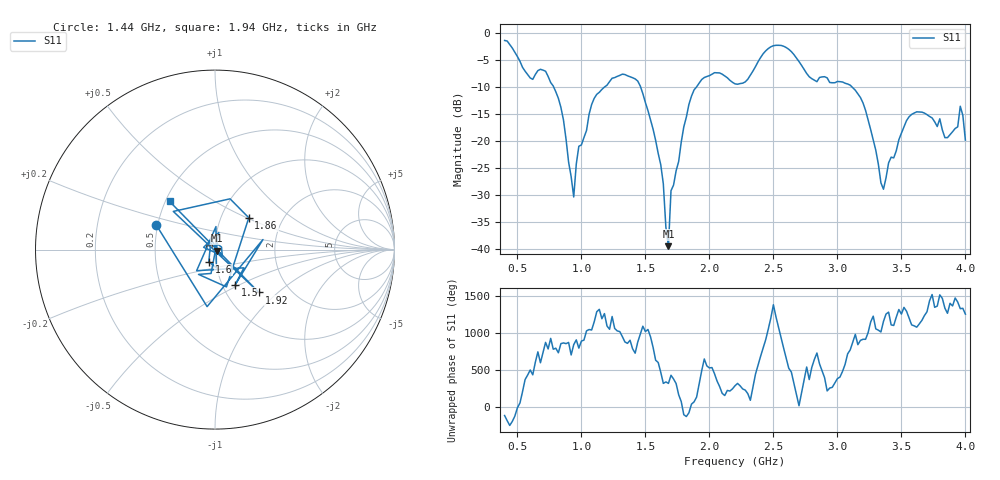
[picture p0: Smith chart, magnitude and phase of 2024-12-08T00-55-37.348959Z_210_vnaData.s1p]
!Created with skrf (http://scikit-rf.org).
# Hz S RI R 50.0
!freq ReS11 ImS11
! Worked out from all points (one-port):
!   181 points, 400 MHz to 4 GHz, reference 50 ohm
!   lowest |S11| = -39.5 dB at 1.68 GHz (marker M1), VSWR 1.02, Z = 50.8 - j0.661 ohm
!   |S11| at or under -10 dB: 782.4 MHz to 1.184 GHz (401.6 MHz wide, 40.8 % of centre); 1.462 GHz to 1.901 GHz (439.3 MHz wide, 26.1 % of centre); 3.113 GHz to end of sweep
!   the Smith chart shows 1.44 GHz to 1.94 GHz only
!   S11 on the Smith chart (normalised r, x): 1.44 GHz: 0.49, +0.16; 1.5 GHz: 1.15, -0.47; 1.6 GHz: 0.92, -0.13; 1.86 GHz: 1.35, +0.51; 1.92 GHz: 1.41, -0.76; 1.94 GHz: 0.53, +0.33
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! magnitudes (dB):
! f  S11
! 400 MHz  -1.5
! 600 MHz  -8.4
! 720 MHz  -7.1
! 860 MHz  -16.2
! 940 MHz  -30.4
! 980 MHz  -21.0
! 1.08 GHz  -13.3
! 1.3 GHz  -7.9
! 1.44 GHz  -9.0
! 1.5 GHz  -12.9
! 1.6 GHz  -22.3
! 1.64 GHz  -27.9
! 1.68 GHz  -39.5
! 1.7 GHz  -29.2
! 1.76 GHz  -23.8
! 1.86 GHz  -11.7
! 1.92 GHz  -9.3
! 1.94 GHz  -8.7
! 2.2 GHz  -9.5
! 2.48 GHz  -2.6
! 2.66 GHz  -4.1
! 3.1 GHz  -9.7
! 3.22 GHz  -14.4
! 3.36 GHz  -28.9
! 3.56 GHz  -15.6
! 3.86 GHz  -19.4
! 3.96 GHz  -13.6
! 4 GHz  -19.9
